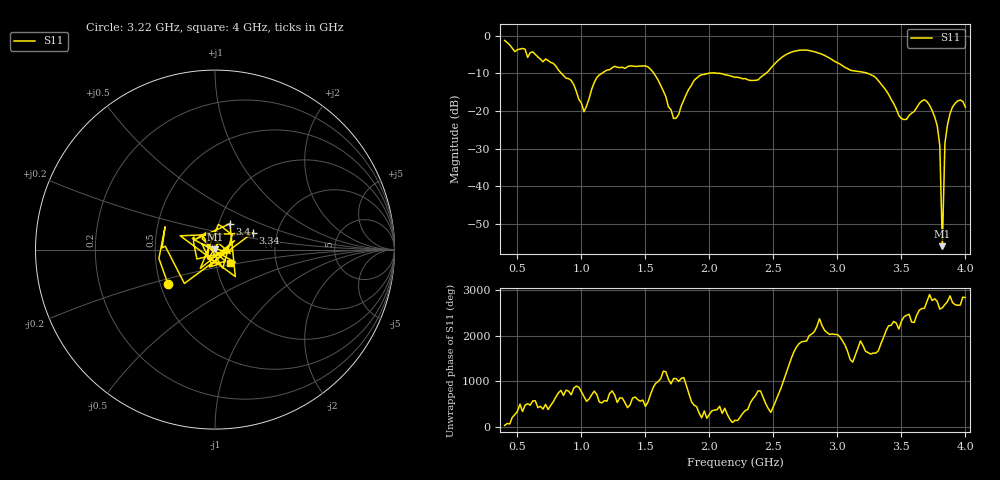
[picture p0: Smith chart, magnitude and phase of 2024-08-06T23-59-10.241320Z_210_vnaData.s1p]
!Created with skrf (http://scikit-rf.org).
# Hz S RI R 50.0
!freq ReS11 ImS11
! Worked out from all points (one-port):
!   181 points, 400 MHz to 4 GHz, reference 50 ohm
!   lowest |S11| = -56.0 dB at 3.82 GHz (marker M1), VSWR 1.00, Z = 50 + j0.158 ohm
!   |S11| at or under -10 dB: 1.567 GHz to 1.988 GHz (421.2 MHz wide, 23.7 % of centre); 2.088 GHz to 2.44 GHz (352.4 MHz wide, 15.6 % of centre); 3.24 GHz to end of sweep (the widest 3 of 4)
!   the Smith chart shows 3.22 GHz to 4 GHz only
!   S11 on the Smith chart (normalised r, x): 3.22 GHz: 0.55, -0.23; 3.34 GHz: 1.50, +0.29; 3.4 GHz: 1.13, +0.34; 4 GHz: 1.17, -0.18
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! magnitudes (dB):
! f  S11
! 400 MHz  -1.2
! 860 MHz  -10.6
! 940 MHz  -12.9
! 1.02 GHz  -20.2
! 1.12 GHz  -11.1
! 1.3 GHz  -8.4
! 1.52 GHz  -8.2
! 1.6 GHz  -11.8
! 1.72 GHz  -22.0
! 1.76 GHz  -20.9
! 1.92 GHz  -10.7
! 2.2 GHz  -11.0
! 2.38 GHz  -11.7
! 2.66 GHz  -4.1
! 3.1 GHz  -9.1
! 3.22 GHz  -9.8
! 3.34 GHz  -12.8
! 3.4 GHz  -15.5
! 3.5 GHz  -22.0
! 3.56 GHz  -21.2
! 3.68 GHz  -17.0
! 3.78 GHz  -23.9
! 3.8 GHz  -29.2
! 3.82 GHz  -56.0
! 3.84 GHz  -28.6
! 3.86 GHz  -23.7
! 3.92 GHz  -18.0
! 4 GHz  -19.0
